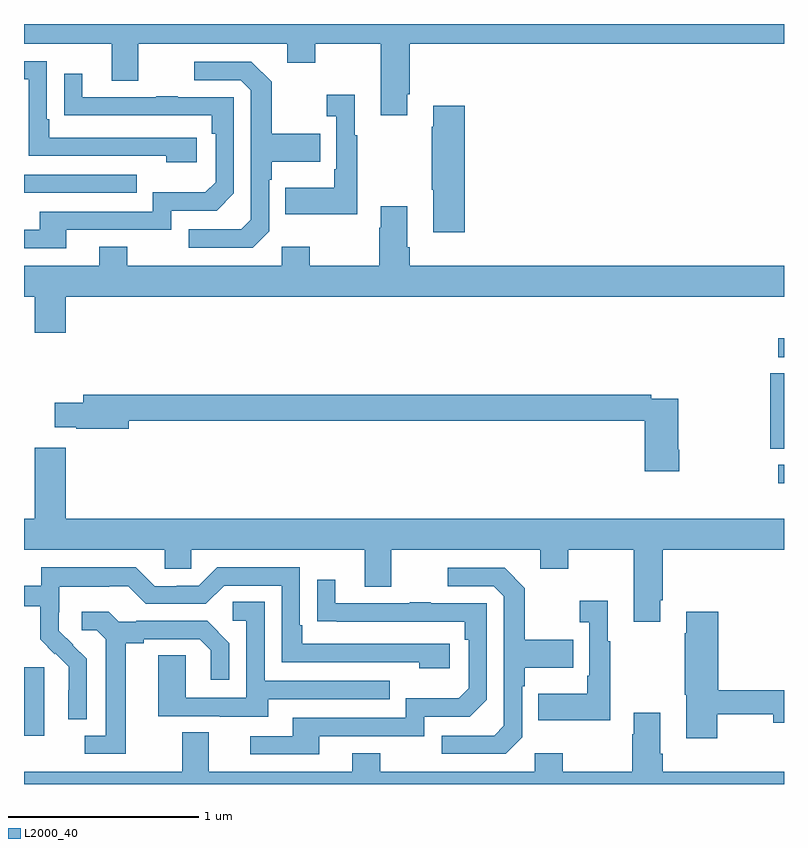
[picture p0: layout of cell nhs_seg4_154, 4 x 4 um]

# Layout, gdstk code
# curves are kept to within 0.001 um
import gdstk
lib = gdstk.Library(unit=1e-6, precision=1e-09)
def R(c, l, rs):  # rectangles x0, y0, x1, y1
    for r in rs: c.add(gdstk.rectangle(r[:2], r[2:], *l))
def P(c, l, *ps):  # polygons
    for p in ps: c.add(gdstk.Polygon(p, *l))
L2000_40 = (2000, 40)

nhs_seg4_154 = lib.new_cell('nhs_seg4_154')
R(nhs_seg4_154, L2000_40, [(117,817.154,117.106,817.515), (120.969,818.484,121,818.58), (120.928,818.665,121,819.062), (120.969,819.147,121,819.246), (117,820.011,117.593,820.107)])
P(nhs_seg4_154, L2000_40, [(119.017,820.531),(119.03,820.531),(119.03,820.796),(121,820.796),(121,820.9),(117,820.9),(117,820.796),(117.461,820.796),(117.461,820.602),(117.601,820.602),(117.601,820.796),(118.385,820.796),(118.385,820.697),(118.533,820.697),(118.533,820.796),(118.877,820.796),(118.877,820.419),(119.017,820.419)],
  [(117.91,820.302),(117.133,820.302),(117.133,820.399),(117.12,820.399),(117.12,820.704),(117,820.704),(117,820.608),(117.024,820.608),(117.024,820.206),(117.749,820.206),(117.749,820.172),(117.91,820.172)],
  [(118.29,819.81),(118.29,820.079),(118.303,820.079),(118.303,820.175),(118.559,820.175),(118.559,820.323),(118.303,820.323),(118.303,820.595),(118.197,820.701),(117.897,820.701),(117.897,820.605),(118.14,820.605),(118.194,820.551),(118.194,819.87),(118.143,819.819),(117.867,819.819),(117.867,819.723),(118.203,819.723)],
  [(117.223,819.816),(117.774,819.816),(117.774,819.918),(118.014,819.918),(118.104,820.008),(118.104,820.515),(117.809,820.515),(117.809,820.52),(117.697,820.52),(117.697,820.515),(117.307,820.515),(117.307,820.639),(117.211,820.639),(117.211,820.42),(117.988,820.419),(117.988,820.322),(118.008,820.322),(118.008,820.068),(117.955,820.015),(117.678,820.015),(117.678,819.912),(117.083,819.912),(117.083,819.816),(117,819.816),(117,819.72),(117.223,819.72)],
  [(118.753,820.315),(118.741,820.315),(118.741,820.528),(118.593,820.528),(118.593,820.415),(118.644,820.415),(118.644,820.135),(118.632,820.135),(118.632,820.039),(118.375,820.039),(118.375,819.899),(118.753,819.899)],
  [(119.321,820.471),(119.153,820.471),(119.153,820.358),(119.146,820.358),(119.146,820.027),(119.153,820.027),(119.153,819.804),(119.321,819.804)],
  [(117.22,819.464),(121,819.464),(121,819.628),(119.03,819.628),(119.03,819.724),(119.017,819.724),(119.017,819.94),(118.877,819.94),(118.877,819.827),(118.87,819.827),(118.87,819.628),(118.503,819.628),(118.503,819.727),(118.356,819.727),(118.356,819.628),(117.543,819.628),(117.543,819.727),(117.395,819.727),(117.395,819.628),(117,819.628),(117,819.464),(117.056,819.464),(117.056,819.276),(117.22,819.276)],
  [(120.449,818.659),(120.444,818.659),(120.444,818.928),(120.302,818.928),(120.302,818.948),(117.311,818.948),(117.311,818.907),(117.162,818.907),(117.162,818.777),(117.274,818.777),(117.274,818.77),(117.55,818.77),(117.55,818.812),(120.266,818.812),(120.266,818.547),(120.449,818.547)],
  [(120.349,817.867),(120.362,817.867),(120.362,818.132),(121,818.132),(121,818.296),(117.22,818.296),(117.22,818.671),(117.056,818.671),(117.056,818.296),(117,818.296),(117,818.132),(117.741,818.132),(117.741,818.034),(117.879,818.034),(117.879,818.132),(118.793,818.132),(118.793,817.938),(118.933,817.938),(118.933,818.132),(119.717,818.132),(119.717,818.033),(119.865,818.033),(119.865,818.132),(120.209,818.132),(120.209,817.755),(120.349,817.755)],
  [(117.33,817.558),(117.184,817.706),(117.184,817.803),(117.186,817.803),(117.186,817.937),(117.449,817.937),(117.449,817.941),(117.549,817.941),(117.642,817.848),(117.957,817.848),(118.053,817.944),(118.356,817.944),(118.356,817.542),(119.081,817.542),(119.081,817.508),(119.242,817.508),(119.242,817.638),(118.465,817.638),(118.465,817.735),(118.452,817.735),(118.452,818.04),(118.017,818.04),(117.921,817.944),(117.803,817.944),(117.803,817.941),(117.687,817.941),(117.587,818.041),(117.09,818.041),(117.09,817.944),(117,817.944),(117,817.836),(117.085,817.836),(117.085,817.661),(117.162,817.584),(117.165,817.587),(117.236,817.517),(117.236,817.394),(117.234,817.394),(117.234,817.24),(117.33,817.24)],
  [(119.622,817.146),(119.622,817.415),(119.635,817.415),(119.635,817.511),(119.891,817.511),(119.891,817.659),(119.635,817.659),(119.635,817.931),(119.529,818.037),(119.229,818.037),(119.229,817.941),(119.472,817.941),(119.526,817.887),(119.526,817.206),(119.475,817.155),(119.199,817.155),(119.199,817.059),(119.535,817.059)],
  [(118.555,817.152),(119.106,817.152),(119.106,817.254),(119.346,817.254),(119.436,817.344),(119.436,817.851),(119.141,817.851),(119.141,817.856),(119.029,817.856),(119.029,817.851),(118.639,817.851),(118.639,817.975),(118.543,817.975),(118.543,817.756),(119.32,817.755),(119.32,817.658),(119.34,817.658),(119.34,817.404),(119.287,817.351),(119.01,817.351),(119.01,817.248),(118.415,817.248),(118.415,817.152),(118.191,817.152),(118.191,817.056),(118.555,817.056)],
  [(120.085,817.651),(120.073,817.651),(120.073,817.864),(119.925,817.864),(119.925,817.751),(119.976,817.751),(119.976,817.471),(119.964,817.471),(119.964,817.375),(119.707,817.375),(119.707,817.235),(120.085,817.235)],
  [(118.285,817.347),(118.925,817.347),(118.925,817.443),(118.266,817.443),(118.266,817.859),(118.098,817.859),(118.098,817.758),(118.17,817.758),(118.17,817.353),(117.852,817.353),(117.852,817.577),(117.707,817.577),(117.707,817.257),(118.031,817.257),(118.031,817.253),(118.285,817.253)],
  [(120.648,817.266),(120.944,817.266),(120.944,817.223),(121,817.223),(121,817.394),(120.653,817.394),(120.653,817.807),(120.485,817.807),(120.485,817.694),(120.478,817.694),(120.478,817.371),(120.485,817.371),(120.485,817.14),(120.648,817.14)],
  [(117.535,817.64),(117.631,817.64),(117.631,817.662),(117.926,817.662),(117.983,817.605),(117.983,817.449),(118.08,817.449),(118.08,817.642),(117.964,817.758),(117.592,817.758),(117.592,817.755),(117.498,817.755),(117.446,817.807),(117.303,817.807),(117.303,817.71),(117.384,817.71),(117.431,817.663),(117.431,817.155),(117.321,817.155),(117.321,817.059),(117.535,817.059)],
  [(121,816.964),(120.362,816.964),(120.362,817.06),(120.349,817.06),(120.349,817.276),(120.209,817.276),(120.209,817.163),(120.202,817.163),(120.202,816.964),(119.835,816.964),(119.835,817.063),(119.688,817.063),(119.688,816.964),(118.875,816.964),(118.875,817.063),(118.727,817.063),(118.727,816.964),(117.973,816.964),(117.973,817.172),(117.833,817.172),(117.833,816.964),(117,816.964),(117,816.9),(121,816.9)])

lib.write_gds('nhs_seg4_154.gds')
